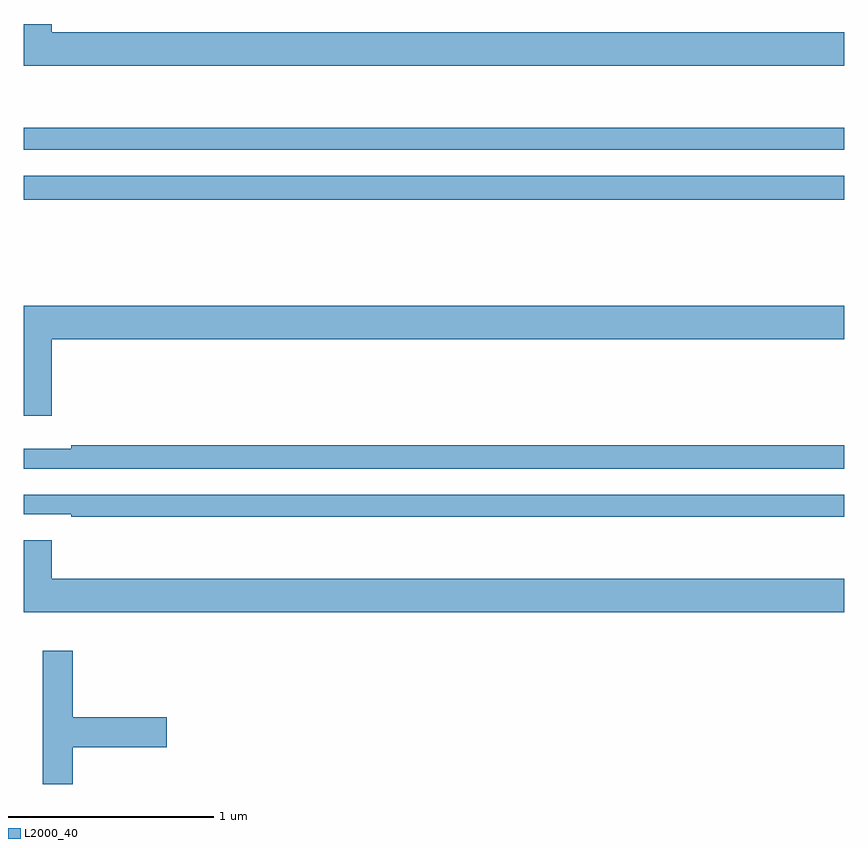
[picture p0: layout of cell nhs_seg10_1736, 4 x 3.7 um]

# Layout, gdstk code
import gdstk
lib = gdstk.Library(unit=1e-6, precision=1e-09)
def R(c, l, rs):  # rectangles x0, y0, x1, y1
    for r in rs: c.add(gdstk.rectangle(r[:2], r[2:], *l))
def P(c, l, *ps):  # polygons
    for p in ps: c.add(gdstk.Polygon(p, *l))
L2000_40 = (2000, 40)

nhs_seg10_1736 = lib.new_cell('nhs_seg10_1736')
R(nhs_seg10_1736, L2000_40, [(201,1319.644,205,1319.76), (201,1319.886,205,1319.995)])
P(nhs_seg10_1736, L2000_40, [(205,1320.46),(201.136,1320.46),(201.136,1320.5),(201,1320.5),(201,1320.296),(205,1320.296)],
  [(201.136,1318.964),(205,1318.964),(205,1319.128),(201,1319.128),(201,1318.59),(201.136,1318.59)],
  [(205,1318.448),(201.232,1318.448),(201.232,1318.429),(201,1318.429),(201,1318.332),(205,1318.332)],
  [(205,1318.206),(201,1318.206),(201,1318.11),(201.232,1318.11),(201.232,1318.098),(205,1318.098)],
  [(205,1317.796),(201.136,1317.796),(201.136,1317.985),(201,1317.985),(201,1317.632),(205,1317.632)],
  [(201.239,1316.975),(201.697,1316.975),(201.697,1317.122),(201.239,1317.122),(201.239,1317.445),(201.092,1317.445),(201.092,1316.796),(201.239,1316.796)])

lib.write_gds('nhs_seg10_1736.gds')
